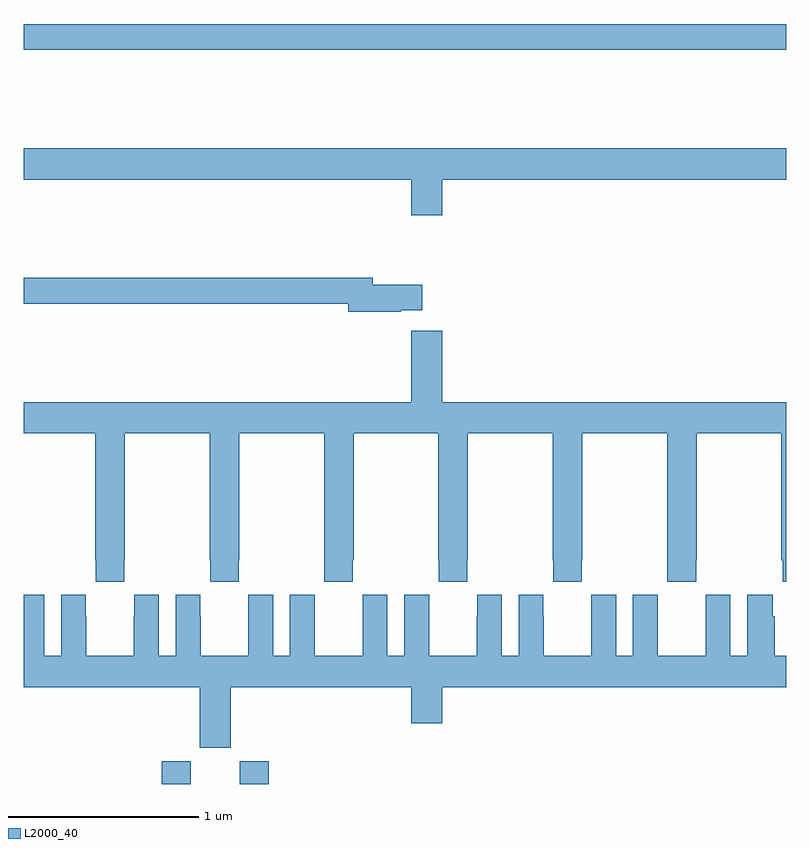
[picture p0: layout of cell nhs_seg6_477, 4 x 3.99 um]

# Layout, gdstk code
import gdstk
lib = gdstk.Library(unit=1e-6, precision=1e-09)
def R(c, l, rs):  # rectangles x0, y0, x1, y1
    for r in rs: c.add(gdstk.rectangle(r[:2], r[2:], *l))
def P(c, l, *ps):  # polygons
    for p in ps: c.add(gdstk.Polygon(p, *l))
L2000_40 = (2000, 40)

nhs_seg6_477 = lib.new_cell('nhs_seg6_477')
R(nhs_seg6_477, L2000_40, [(139.724,941.5,139.876,941.619), (140.132,941.5,140.285,941.619), (139,945.352,143,945.488)])
P(nhs_seg6_477, L2000_40, [(141.196,944.672),(143,944.672),(143,944.836),(139,944.836),(139,944.672),(141.032,944.672),(141.032,944.484),(141.196,944.484)],
  [(140.978,943.985),(141.091,943.985),(141.091,944.12),(140.83,944.12),(140.83,944.156),(139,944.156),(139,944.02),(140.702,944.02),(140.702,943.978),(140.978,943.978)],
  [(139.527,942.673),(139.53,942.673),(139.53,943.34),(139.975,943.34),(139.975,942.673),(139.977,942.673),(139.977,942.561),(140.127,942.561),(140.127,942.673),(140.13,942.673),(140.13,943.34),(140.575,943.34),(140.575,942.673),(140.577,942.673),(140.577,942.561),(140.727,942.561),(140.727,942.673),(140.73,942.673),(140.73,943.34),(141.175,943.34),(141.175,942.673),(141.177,942.673),(141.177,942.561),(141.327,942.561),(141.327,942.673),(141.33,942.673),(141.33,943.34),(141.775,943.34),(141.775,942.673),(141.777,942.673),(141.777,942.561),(141.927,942.561),(141.927,942.673),(141.93,942.673),(141.93,943.34),(142.375,943.34),(142.375,942.673),(142.377,942.673),(142.377,942.561),(142.527,942.561),(142.527,942.673),(142.53,942.673),(142.53,943.34),(142.975,943.34),(142.975,942.673),(142.981,942.673),(142.981,942.561),(143,942.561),(143,943.504),(141.196,943.504),(141.196,943.879),(141.032,943.879),(141.032,943.504),(139,943.504),(139,943.34),(139.375,943.34),(139.375,942.673),(139.377,942.673),(139.377,942.561),(139.527,942.561)],
  [(143,942.172),(142.94,942.172),(142.94,942.38),(142.93,942.38),(142.93,942.493),(142.796,942.493),(142.796,942.172),(142.708,942.172),(142.708,942.493),(142.578,942.493),(142.578,942.38),(142.577,942.38),(142.577,942.172),(142.327,942.172),(142.327,942.38),(142.326,942.38),(142.326,942.493),(142.196,942.493),(142.196,942.172),(142.108,942.172),(142.108,942.493),(141.978,942.493),(141.978,942.38),(141.977,942.38),(141.977,942.172),(141.727,942.172),(141.727,942.38),(141.726,942.38),(141.726,942.493),(141.596,942.493),(141.596,942.172),(141.508,942.172),(141.508,942.493),(141.378,942.493),(141.378,942.38),(141.377,942.38),(141.377,942.172),(141.127,942.172),(141.127,942.38),(141.126,942.38),(141.126,942.493),(140.996,942.493),(140.996,942.172),(140.908,942.172),(140.908,942.493),(140.778,942.493),(140.778,942.38),(140.777,942.38),(140.777,942.172),(140.527,942.172),(140.527,942.38),(140.526,942.38),(140.526,942.493),(140.396,942.493),(140.396,942.172),(140.308,942.172),(140.308,942.493),(140.178,942.493),(140.178,942.38),(140.177,942.38),(140.177,942.172),(139.927,942.172),(139.927,942.38),(139.926,942.38),(139.926,942.493),(139.796,942.493),(139.796,942.172),(139.708,942.172),(139.708,942.493),(139.578,942.493),(139.578,942.38),(139.577,942.38),(139.577,942.172),(139.327,942.172),(139.327,942.38),(139.326,942.38),(139.326,942.493),(139.196,942.493),(139.196,942.172),(139.108,942.172),(139.108,942.493),(139,942.493),(139,942.008),(139.922,942.008),(139.922,941.691),(140.086,941.691),(140.086,942.008),(141.032,942.008),(141.032,941.82),(141.196,941.82),(141.196,942.008),(143,942.008)])

lib.write_gds('nhs_seg6_477.gds')
